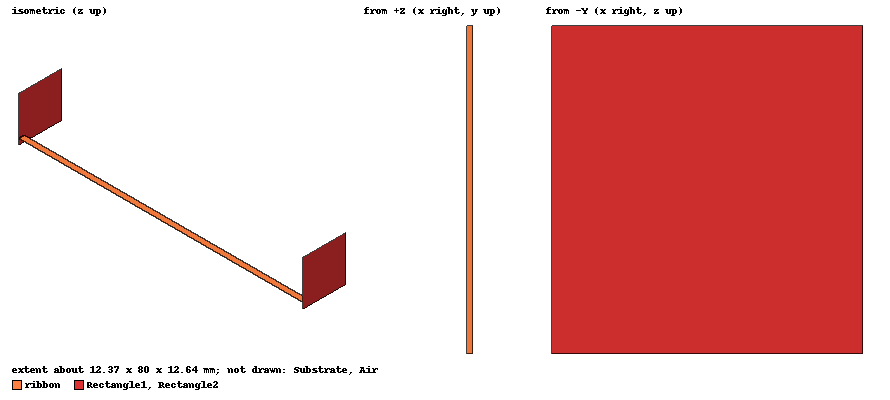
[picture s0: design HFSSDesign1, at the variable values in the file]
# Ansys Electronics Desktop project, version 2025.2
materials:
  FR4_epoxy: permittivity=4.4 dielectric_loss_tangent=0.02
  copper: permeability=0.999991 conductivity=58000000
  vacuum: permittivity=1

design HFSSDesign1 (HFSS, HFSS Terminal Network, model units mm)
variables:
  w_sub = 50mm
  l_sub = 80mm
  h = 1.58mm
  l0 = 60mm
  e = 35um
  w = 3mm
  wr = 15
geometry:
  Substrate [FR4_epoxy] = box(corner=(-w_sub/2, -l_sub/2, 0), size=(w_sub, l_sub, h))
  Air [vacuum] = box(corner=(-w_sub/2, -l_sub/2, h), size=(w_sub, l_sub, l0/4))
  ribbon [copper] = box(corner=(-w/2, -l_sub/2, h), size=(w, l_sub, e))
  Rectangle1 = rectangle(corner=(-4*w, -l_sub/2, 0mm), z_size=8*h, x_size=8*w)
  Rectangle2 = rectangle(corner=(-4*w, l_sub/2, 0mm), z_size=8*h, x_size=8*w)
  Box1 = box(corner=(0, -l_sub/2, 0mm), size=(w_sub/2, l_sub, l0/4+h))
  Box1_1 = Box1.copy()
  Air.subtract(Box1_1)
  Box1_2 = Box1.copy()
  Rectangle1.subtract(Box1_2)
  Box1_3 = Box1.copy()
  Rectangle2.subtract(Box1_3)
  Box1_4 = Box1.copy()
  ribbon.subtract(Box1_4)
  Substrate.subtract(Box1)
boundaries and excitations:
  Rad1: Radiation Faces=Substrate.face(-y, +y) Air.face(-y, +y, -x)
  PerfE1: Perfect E Faces=Substrate.face(-z)
  PerfH1: Perfect H Faces=Air.face(at (0, 0, 9.08)) Substrate.face(at (0, 0, 0.79))
  1: Wave Port Objects=Rectangle1 WavePortType=Modal NumModes=1 Modes{Mode1{IntLine{(-6, -40, 0) -> (-0.75, -40, 1.615)} CharImp=Zpi}}
  2: Wave Port Objects=Rectangle2 WavePortType=Modal NumModes=1 Modes{Mode1{IntLine{(-6, 40, 0) -> (-0.75, 40, 1.615)} CharImp=Zpi}}
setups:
  Setup1: HfssDriven Frequency=5GHz MaxDeltaS=0.02 MaximumPasses=6 MinimumPasses=1 MinimumConvergedPasses=1 PercentRefinement=30 BasisOrder=1 PortAccuracy=2 DrivenSolverType="Direct Solver"
    sweep Sweep: 1GHz to 8GHz, 51 points; Type=Discrete
  Setup2: HfssDriven Frequency=5GHz MaxDeltaS=0.01 MaximumPasses=12 MinimumPasses=1 MinimumConvergedPasses=1 PercentRefinement=30 BasisOrder=1 PortAccuracy=2 DrivenSolverType="Direct Solver"
    sweep Sweep: 1GHz to 8GHz, 51 points; Type=Discrete
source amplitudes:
  1:1: 1V 0deg
  2:1: 0V 0deg
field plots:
  Mag_H1: H Field over Substrate.face(+z, -z, -y, -x, +y) Air.face(+z, -z, -y, -x, +y) ribbon.face(+z, -z, -y, -x, +y) Rectangle1.face(at (-6, -40, 6.32)) Rectangle2.face(at (-6, 40, 6.32)) on Setup2 : LastAdaptive at Freq=5GHz Phase=0deg
  Mag_E1: E Field over Substrate.face(+z, -z, -y, -x, +y) Air.face(+z, -z, -y, -x, +y) ribbon.face(+z, -z, -y, -x, +y) Rectangle1.face(at (-6, -40, 6.32)) Rectangle2.face(at (-6, 40, 6.32)) on Setup2 : LastAdaptive at Freq=5GHz Phase=0deg
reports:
  S Parameter Plot1: dB(S(1,1)), dB(S(2,1)) vs Freq on Setup2 : Sweep; markers MX1 at x=5.0039062e+09
  Terminal S Parameter Plot1: ang_deg(St(2,1)) vs Freq on Setup2 : Sweep; markers MX1 at x=4.9988688e+09
  Terminal S Parameter Plot2: cang_deg(St(2,1)) vs Freq on Setup2 : Sweep; markers MX1 at x=4.9993579e+09
